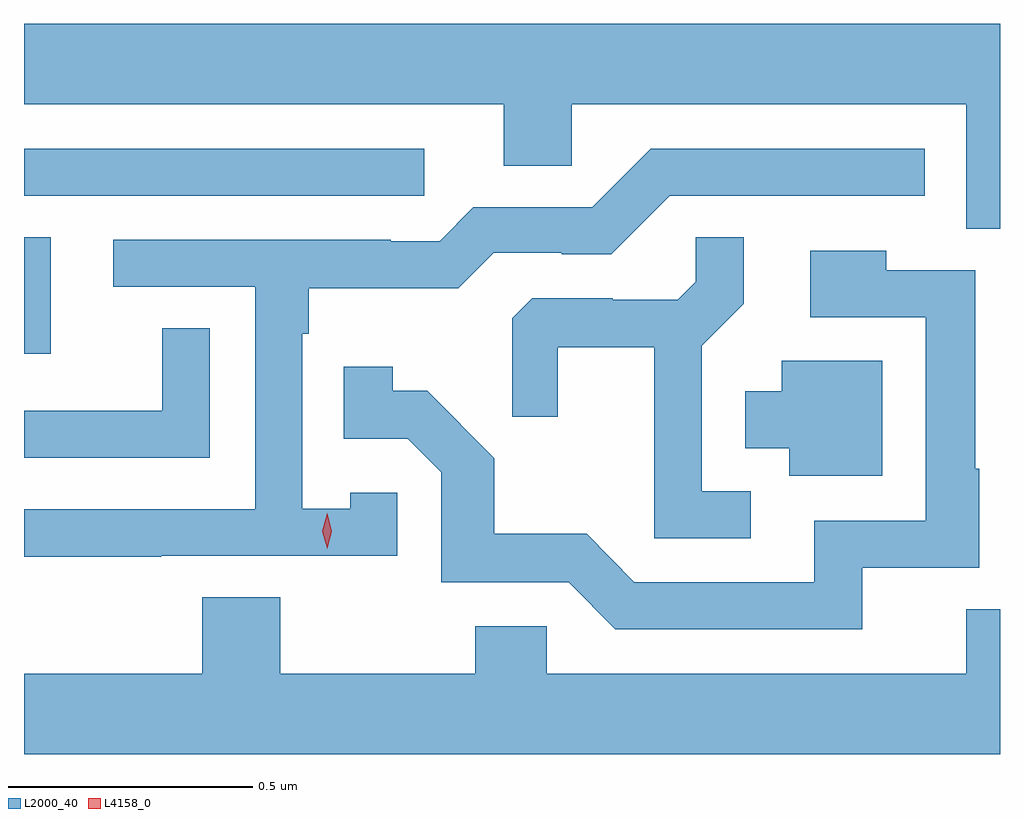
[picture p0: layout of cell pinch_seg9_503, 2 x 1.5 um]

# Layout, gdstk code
import gdstk
lib = gdstk.Library(unit=1e-6, precision=1e-09)
def R(c, l, rs):  # rectangles x0, y0, x1, y1
    for r in rs: c.add(gdstk.rectangle(r[:2], r[2:], *l))
def P(c, l, *ps):  # polygons
    for p in ps: c.add(gdstk.Polygon(p, *l))
L2000_40 = (2000, 40)
L4158_0 = (4158, 0)

pinch_seg9_503 = lib.new_cell('pinch_seg9_503')
R(pinch_seg9_503, L2000_40, [(377.334,1190.58,377.389,1190.819), (377.334,1190.904,378.154,1191)])
P(pinch_seg9_503, L2000_40, [(379.334,1191.256),(377.334,1191.256),(377.334,1191.092),(378.317,1191.092),(378.317,1190.965),(378.456,1190.965),(378.456,1191.092),(379.265,1191.092),(379.265,1190.836),(379.334,1190.836)],
  [(377.615,1190.166),(378.099,1190.166),(378.099,1190.295),(378.003,1190.295),(378.003,1190.263),(377.904,1190.263),(377.904,1190.621),(377.917,1190.621),(377.917,1190.714),(378.224,1190.714),(378.297,1190.787),(378.436,1190.787),(378.436,1190.784),(378.537,1190.784),(378.657,1190.904),(379.18,1190.904),(379.18,1191),(378.618,1191),(378.498,1190.88),(378.255,1190.88),(378.186,1190.811),(378.086,1190.811),(378.086,1190.814),(377.517,1190.814),(377.517,1190.718),(377.808,1190.718),(377.808,1190.262),(377.334,1190.262),(377.334,1190.164),(377.615,1190.164)],
  [(378.823,1190.298),(378.723,1190.298),(378.723,1190.597),(378.809,1190.683),(378.809,1190.819),(378.711,1190.819),(378.711,1190.728),(378.674,1190.691),(378.54,1190.691),(378.54,1190.694),(378.375,1190.694),(378.334,1190.653),(378.334,1190.451),(378.428,1190.451),(378.428,1190.594),(378.626,1190.594),(378.626,1190.202),(378.823,1190.202)],
  [(379.052,1190.142),(379.291,1190.142),(379.291,1190.345),(379.283,1190.345),(379.283,1190.751),(379.101,1190.751),(379.101,1190.791),(378.945,1190.791),(378.945,1190.655),(379.182,1190.655),(379.182,1190.238),(378.953,1190.238),(378.953,1190.112),(378.585,1190.112),(378.487,1190.211),(378.298,1190.211),(378.298,1190.366),(378.16,1190.504),(378.09,1190.504),(378.09,1190.554),(377.989,1190.554),(377.989,1190.406),(378.12,1190.406),(378.189,1190.337),(378.189,1190.112),(378.45,1190.112),(378.546,1190.016),(379.052,1190.016)],
  [(377.715,1190.633),(377.617,1190.633),(377.617,1190.463),(377.334,1190.463),(377.334,1190.367),(377.715,1190.367)],
  [(379.093,1190.566),(378.887,1190.566),(378.887,1190.503),(378.812,1190.503),(378.812,1190.387),(378.902,1190.387),(378.902,1190.33),(379.093,1190.33)],
  [(379.334,1190.057),(379.265,1190.057),(379.265,1189.924),(378.405,1189.924),(378.405,1190.022),(378.259,1190.022),(378.259,1189.924),(377.859,1189.924),(377.859,1190.081),(377.699,1190.081),(377.699,1189.924),(377.334,1189.924),(377.334,1189.76),(379.334,1189.76)])
P(pinch_seg9_503, L4158_0, [(377.955,1190.181),(377.955,1190.182),(377.945,1190.217),(377.955,1190.253),(377.955,1190.253),(377.955,1190.253),(377.965,1190.217),(377.955,1190.182)])

lib.write_gds('pinch_seg9_503.gds')
